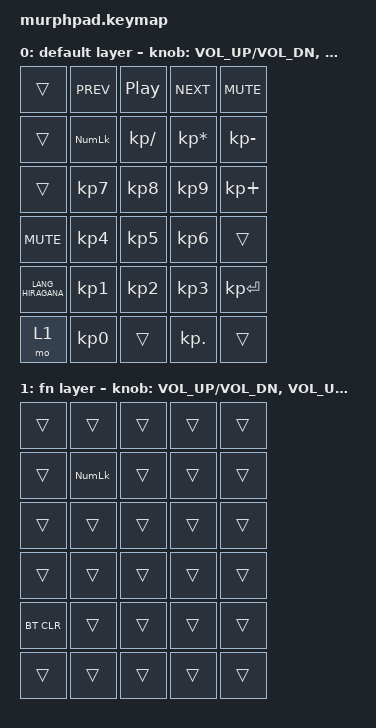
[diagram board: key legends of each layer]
/*
 * Copyright (c) 2021 The ZMK Contributors
 *
 * SPDX-License-Identifier: MIT
 */
#include <behaviors.dtsi>
#include <dt-bindings/zmk/keys.h>
#include <dt-bindings/zmk/bt.h>
/*
#include <dt-bindings/zmk/rgb.h>
*/
	sensors {
		compatible = "zmk,keymap-sensors";
		sensors = <&encoder_1 &encoder_2>;
	};


	keymap0: keymap {
		compatible = "zmk,keymap";

		default_layer {
		label = "default layer";
            bindings = <
                &trans		    &kp C_PREV      &kp C_PLAY_PAUSE   &kp C_NEXT           &kp C_MUTE   
                &trans		    &kp KP_NUMLOCK  &kp KP_DIVIDE      &kp KP_MULTIPLY      &kp KP_MINUS    
                &trans		    &kp KP_N7       &kp KP_N8          &kp KP_N9            &kp KP_PLUS   
                &kp C_MUTE          &kp KP_N4       &kp KP_N5          &kp KP_N6            &trans
                &kp LANG_HIRAGANA   &kp KP_N1       &kp KP_N2          &kp KP_N3            &kp KP_ENTER
                &mo 1               &kp KP_N0       &trans             &kp KP_DOT           &trans
            >;
			sensor-bindings = <&inc_dec_kp C_VOL_UP C_VOL_DN &inc_dec_kp C_VOL_UP C_VOL_DN>;

        }; 
/*
        fn_layer {
		label = "fn layer";
            bindings = <
                &trans          &trans             &trans            &trans              &trans  
                &trans          &kp KP_NUM         &trans            &trans              &trans     
                &trans          &rgb_ug RGB_HUI    &trans            &rgb_ug RGB_SAI	         &trans
                &rgb_ug RGB_EFF &rgb_ug RGB_EFF    &trans            &rgb_ug RGB_EFF     &trans    
                &bt BT_CLR      &rgb_ug RGB_HUD    &trans            &rgb_ug RGB_SAd              &trans
                &trans    	&trans             &trans            &trans              &trans           
            >;  
			sensor-bindings = <&inc_dec_kp RGB_BRI RGB_BRD &inc_dec_kp C_VOL_UP C_VOL_DN>;
*/

fn_layer {
		label = "fn layer";
            bindings = <
                &trans          &trans             &trans            &trans              &trans  
                &trans          &kp KP_NUM         &trans            &trans              &trans     
                &trans          &trans    	   &trans    	     &trans	         &trans
                &trans 		&trans    	   &trans      	     &trans               &trans    
                &bt BT_CLR      &trans    	   &trans            &trans              &trans
                &trans    	&trans             &trans            &trans              &trans           
            >;  
			sensor-bindings = <&inc_dec_kp C_VOL_UP C_VOL_DN &inc_dec_kp C_VOL_UP C_VOL_DN>;
        };
    };
}; 
